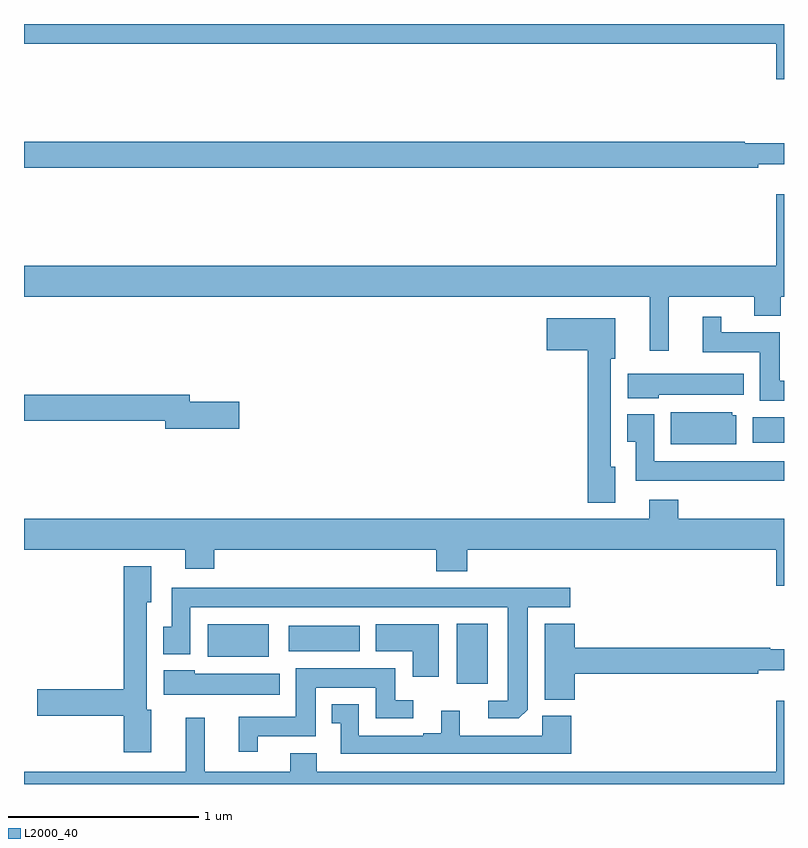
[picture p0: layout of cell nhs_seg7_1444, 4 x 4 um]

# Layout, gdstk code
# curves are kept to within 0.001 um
import gdstk
lib = gdstk.Library(unit=1e-6, precision=1e-09)
def R(c, l, rs):  # rectangles x0, y0, x1, y1
    for r in rs: c.add(gdstk.rectangle(r[:2], r[2:], *l))
def P(c, l, *ps):  # polygons
    for p in ps: c.add(gdstk.Polygon(p, *l))
L2000_40 = (2000, 40)

nhs_seg7_1444 = lib.new_cell('nhs_seg7_1444')
R(nhs_seg7_1444, L2000_40, [(211.277,1050.528,211.441,1050.844), (209.966,1050.671,210.289,1050.841), (210.393,1050.698,210.766,1050.832), (212.835,1051.796,213,1051.93)])
P(nhs_seg7_1444, L2000_40, [(213,1054),(209,1054),(209,1053.896),(212.96,1053.896),(212.96,1053.708),(213,1053.708)],
  [(212.864,1053.263),(213,1053.263),(213,1053.373),(212.794,1053.373),(212.794,1053.38),(209,1053.38),(209,1053.244),(212.864,1053.244)],
  [(212.983,1052.564),(213,1052.564),(213,1053.103),(212.96,1053.103),(212.96,1052.728),(209,1052.728),(209,1052.564),(212.294,1052.564),(212.294,1052.28),(212.393,1052.28),(212.393,1052.564),(212.843,1052.564),(212.843,1052.465),(212.983,1052.465)],
  [(213,1052.122),(212.977,1052.122),(212.977,1052.377),(212.671,1052.377),(212.671,1052.458),(212.573,1052.458),(212.573,1052.273),(212.873,1052.273),(212.873,1052.018),(213,1052.018)],
  [(212.113,1051.671),(212.089,1051.671),(212.089,1052.238),(212.113,1052.238),(212.113,1052.452),(211.752,1052.452),(211.752,1052.282),(211.967,1052.282),(211.967,1051.481),(212.113,1051.481)],
  [(212.34,1052.048),(212.788,1052.048),(212.788,1052.158),(212.178,1052.158),(212.178,1052.03),(212.34,1052.03)],
  [(210.133,1052.012),(209.872,1052.012),(209.872,1052.048),(209,1052.048),(209,1051.912),(209.744,1051.912),(209.744,1051.87),(210.133,1051.87)],
  [(212.749,1051.941),(212.727,1051.941),(212.727,1051.957),(212.405,1051.957),(212.405,1051.787),(212.749,1051.787)],
  [(213,1051.699),(212.316,1051.699),(212.316,1051.945),(212.174,1051.945),(212.174,1051.801),(212.219,1051.801),(212.219,1051.595),(213,1051.595)],
  [(213,1051.396),(212.444,1051.396),(212.444,1051.495),(212.291,1051.495),(212.291,1051.396),(209,1051.396),(209,1051.232),(209.849,1051.232),(209.849,1051.133),(210.002,1051.133),(210.002,1051.232),(211.169,1051.232),(211.169,1051.121),(211.334,1051.121),(211.334,1051.232),(212.96,1051.232),(212.96,1051.044),(213,1051.044)],
  [(209.671,1050.39),(209.647,1050.39),(209.647,1050.957),(209.671,1050.957),(209.671,1051.147),(209.525,1051.147),(209.525,1050.5),(209.07,1050.5),(209.07,1050.358),(209.525,1050.358),(209.525,1050.168),(209.671,1050.168)],
  [(211.65,1050.391),(211.651,1050.929),(211.876,1050.929),(211.876,1051.033),(209.777,1051.033),(209.777,1050.828),(209.732,1050.828),(209.732,1050.684),(209.874,1050.684),(209.874,1050.929),(211.547,1050.929),(211.547,1050.438),(211.443,1050.438),(211.443,1050.345),(211.604,1050.345)],
  [(211.898,1050.58),(212.864,1050.58),(212.864,1050.599),(213,1050.599),(213,1050.709),(212.927,1050.709),(212.927,1050.716),(211.898,1050.716),(211.898,1050.844),(211.742,1050.844),(211.742,1050.443),(211.898,1050.443)],
  [(211.183,1050.841),(210.851,1050.841),(210.851,1050.698),(211.046,1050.698),(211.046,1050.564),(211.183,1050.564)],
  [(210.229,1050.251),(210.535,1050.251),(210.535,1050.506),(210.851,1050.506),(210.851,1050.345),(211.048,1050.345),(211.048,1050.441),(210.955,1050.441),(210.955,1050.61),(210.431,1050.61),(210.431,1050.355),(210.131,1050.355),(210.131,1050.171),(210.229,1050.171)],
  [(210.346,1050.58),(209.898,1050.58),(209.898,1050.598),(209.736,1050.598),(209.736,1050.47),(210.346,1050.47)],
  [(213,1050.439),(212.96,1050.439),(212.96,1050.064),(210.541,1050.064),(210.541,1050.163),(210.401,1050.163),(210.401,1050.064),(209.951,1050.064),(209.951,1050.349),(209.852,1050.349),(209.852,1050.064),(209,1050.064),(209,1050),(213,1050)],
  [(211.88,1050.358),(211.728,1050.358),(211.728,1050.255),(211.294,1050.255),(211.294,1050.385),(211.196,1050.385),(211.196,1050.268),(211.1,1050.268),(211.1,1050.255),(210.762,1050.255),(210.762,1050.421),(210.62,1050.421),(210.62,1050.321),(210.666,1050.321),(210.666,1050.159),(211.88,1050.159)])

lib.write_gds('nhs_seg7_1444.gds')
